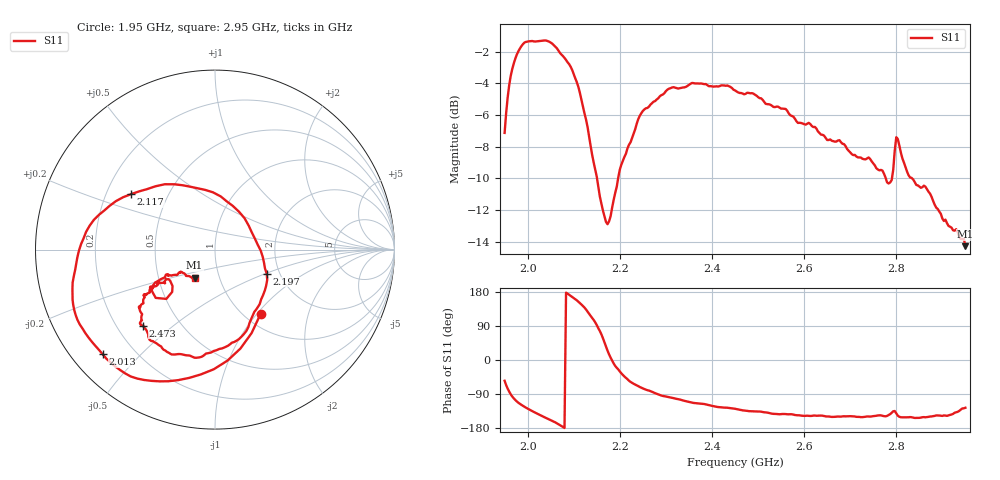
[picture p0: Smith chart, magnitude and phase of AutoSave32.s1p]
!Agilent N9923A: A.07.32
!Date: Thursday, 02 June 2016 22:58:24
!Model: N9923A
!Serial: MY52412257
!GPS Latitude:
!GPS Longitude:
!GPS TimeStamp: 0001-01-01 00:00:00Z
!GPS Seconds Since Last Read: 0
!CHECKSUM:1857238487
!Correction: S11(ON U)
!S1P File: Measurement: S11:
# Hz S DB R 50
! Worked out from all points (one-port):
!   301 points, 1.95 GHz to 2.95 GHz, reference 50 ohm
!   lowest |S11| = -14.3 dB at 2.95 GHz (marker M1), VSWR 1.48, Z = 38.1 - j12.3 ohm
!   |S11| at or under -10 dB: 2.151 GHz to 2.196 GHz (45.91 MHz wide, 2.11 % of centre); 2.777138 GHz to 2.79065 GHz (13.51 MHz wide, 0.485 % of centre); 2.834 GHz to end of sweep
!   S11 on the Smith chart (normalised r, x): 1.95 GHz: 1.18, -1.05; 2.013 GHz: 0.09, -0.39; 2.117 GHz: 0.31, +0.28; 2.197 GHz: 1.71, -0.51; 2.473 GHz: 0.31, -0.39; 2.95 GHz: 0.76, -0.25
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1.95e9  -7.14 -54.8
1.96e9  -4.12 -83.6
1.973333e9  -2.44 -105.7
1.993333e9  -1.43 -123.6
2.013333e9  -1.36 -137.0
2.046667e9  -1.38 -156.8
2.076667e9  -2.29 -176.7
2.096667e9  -3.16 166.2
2.116667e9  -5.04 146.5
2.13e9  -6.76 127.5
2.146667e9  -9.45 99.3
2.17e9  -12.76 35.0
2.196667e9  -9.96 -24.9
2.203333e9  -9.15 -35.3
2.25e9  -5.75 -74.9
2.303333e9  -4.41 -97.2
2.326667e9  -4.34 -103.4
2.36e9  -3.99 -113.3
2.453333e9  -4.52 -129.5
2.473333e9  -4.67 -133.6
2.576667e9  -6.11 -144.0
2.703333e9  -8.48 -148.4
2.783333e9  -10.33 -145.1
2.79e9  -10.12 -139.4
2.796667e9  -8.27 -134.6
2.803333e9  -7.53 -146.9
2.826667e9  -9.81 -151.1
2.95e9  -14.29 -126.1
